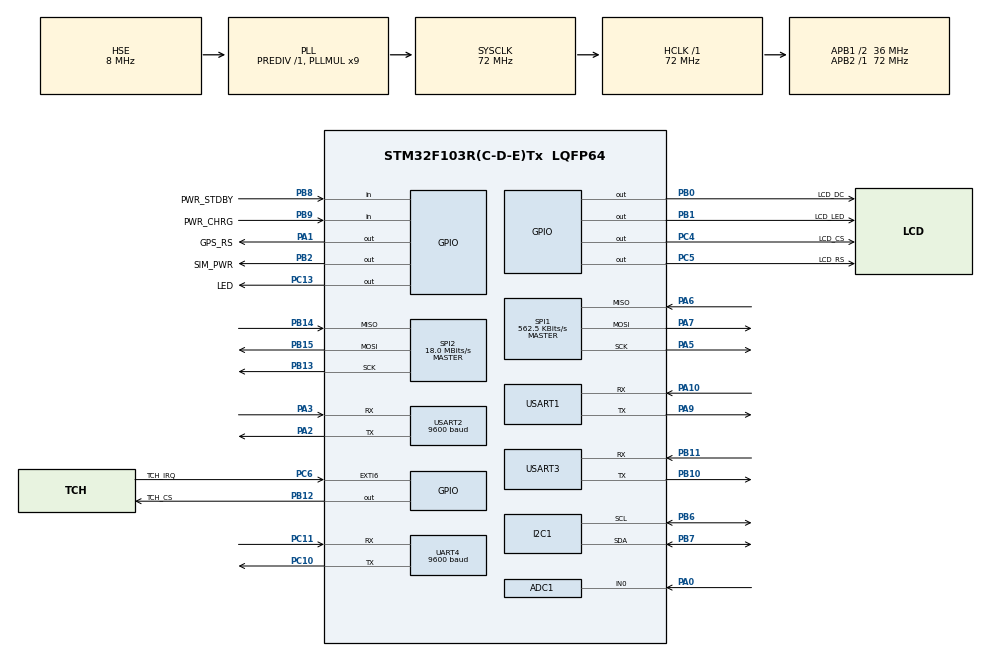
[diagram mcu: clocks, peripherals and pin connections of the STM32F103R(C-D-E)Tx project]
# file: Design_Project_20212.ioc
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ADC1.Channel-0\#ChannelRegularConversion=ADC_CHANNEL_0
ADC1.NbrOfConversionFlag=1
ADC1.Rank-0\#ChannelRegularConversion=1
ADC1.SamplingTime-0\#ChannelRegularConversion=ADC_SAMPLETIME_239CYCLES_5
ADC1.master=1
Dma.ADC1.0.Direction=DMA_PERIPH_TO_MEMORY
Dma.ADC1.0.Instance=DMA1_Channel1
Dma.ADC1.0.MemDataAlignment=DMA_MDATAALIGN_HALFWORD
Dma.ADC1.0.MemInc=DMA_MINC_ENABLE
Dma.ADC1.0.Mode=DMA_CIRCULAR
Dma.ADC1.0.PeriphDataAlignment=DMA_PDATAALIGN_HALFWORD
Dma.ADC1.0.PeriphInc=DMA_PINC_DISABLE
Dma.ADC1.0.Priority=DMA_PRIORITY_LOW
Dma.Request0=ADC1
Dma.Request1=SPI2_TX
Dma.SPI2_TX.1.Direction=DMA_MEMORY_TO_PERIPH
Dma.SPI2_TX.1.Instance=DMA1_Channel5
Dma.SPI2_TX.1.MemDataAlignment=DMA_MDATAALIGN_BYTE
Dma.SPI2_TX.1.MemInc=DMA_MINC_ENABLE
Dma.SPI2_TX.1.Mode=DMA_NORMAL
Dma.SPI2_TX.1.PeriphDataAlignment=DMA_PDATAALIGN_BYTE
Dma.SPI2_TX.1.PeriphInc=DMA_PINC_DISABLE
Dma.SPI2_TX.1.Priority=DMA_PRIORITY_MEDIUM
FREERTOS.Events01=Display_Event,Dynamic,NULL
FREERTOS.Tasks01=defaultTask,24,512,DefaultTask,Default,NULL,Dynamic,NULL,NULL;LCD,32,512,Display_Task,Default,NULL,Dynamic,NULL,NULL
FREERTOS.Timers01=Timer1s,Timer1sHandle,osTimerPeriodic,Default,NULL,Dynamic,NULL
FREERTOS.configTOTAL_HEAP_SIZE=10240
I2C1.I2C_Mode=I2C_Fast
Mcu.Family=STM32F1
Mcu.Name=STM32F103R(C-D-E)Tx
Mcu.Package=LQFP64
NVIC.DMA1_Channel1_IRQn=true\:5\:0\:false\:false\:true\:true\:false\:true\:true
NVIC.DMA1_Channel5_IRQn=true\:5\:0\:false\:false\:true\:true\:false\:true\:true
NVIC.EXTI9_5_IRQn=true\:5\:0\:false\:false\:true\:true\:true\:true\:true
NVIC.PriorityGroup=NVIC_PRIORITYGROUP_4
NVIC.SPI2_IRQn=true\:5\:0\:false\:false\:true\:true\:true\:true\:true
NVIC.TIM7_IRQn=true\:15\:0\:false\:false\:true\:false\:false\:true\:true
NVIC.TimeBase=TIM7_IRQn
NVIC.TimeBaseIP=TIM7
NVIC.UART4_IRQn=true\:5\:0\:false\:false\:true\:true\:true\:true\:true
NVIC.USART1_IRQn=true\:5\:0\:false\:false\:true\:true\:true\:true\:true
NVIC.USART2_IRQn=true\:5\:0\:false\:false\:true\:true\:true\:true\:true
NVIC.USART3_IRQn=true\:5\:0\:false\:false\:true\:true\:true\:true\:true
PA0-WKUP.Signal=ADCx_IN0
PA1.GPIO_Label=GPS_RS
PA1.Signal=GPIO_Output
PA10.Mode=Asynchronous
PA10.Signal=USART1_RX
PA13.Mode=Serial_Wire
PA13.Signal=SYS_JTMS-SWDIO
PA14.Mode=Serial_Wire
PA14.Signal=SYS_JTCK-SWCLK
PA2.Mode=Asynchronous
PA2.Signal=USART2_TX
PA3.Mode=Asynchronous
PA3.Signal=USART2_RX
PA5.Mode=Full_Duplex_Master
PA5.Signal=SPI1_SCK
PA6.Mode=Full_Duplex_Master
PA6.Signal=SPI1_MISO
PA7.Mode=Full_Duplex_Master
PA7.Signal=SPI1_MOSI
PA9.Mode=Asynchronous
PA9.Signal=USART1_TX
PB0.GPIO_Label=LCD_DC
PB0.Signal=GPIO_Output
PB1.GPIO_Label=LCD_LED
PB1.Signal=GPIO_Output
PB10.Mode=Asynchronous
PB10.Signal=USART3_TX
PB11.Mode=Asynchronous
PB11.Signal=USART3_RX
PB12.GPIO_Label=TCH_CS
PB12.Signal=GPIO_Output
PB13.Mode=Full_Duplex_Master
PB13.Signal=SPI2_SCK
PB14.Mode=Full_Duplex_Master
PB14.Signal=SPI2_MISO
PB15.Mode=Full_Duplex_Master
PB15.Signal=SPI2_MOSI
PB2.GPIO_Label=SIM_PWR
PB2.Signal=GPIO_Output
PB6.Mode=I2C
PB6.Signal=I2C1_SCL
PB7.Mode=I2C
PB7.Signal=I2C1_SDA
PB8.GPIO_Label=PWR_STDBY
PB8.Signal=GPIO_Input
PB9.GPIO_Label=PWR_CHRG
PB9.Signal=GPIO_Input
PC10.Mode=Asynchronous
PC10.Signal=UART4_TX
PC11.Mode=Asynchronous
PC11.Signal=UART4_RX
PC13-TAMPER-RTC.GPIO_Label=LED
PC13-TAMPER-RTC.Signal=GPIO_Output
PC4.GPIO_Label=LCD_CS
PC4.Signal=GPIO_Output
PC5.GPIO_Label=LCD_RS
PC5.Signal=GPIO_Output
PC6.GPIO_Label=TCH_IRQ
PC6.GPIO_ModeDefaultEXTI=GPIO_MODE_IT_FALLING
PC6.GPIO_PuPd=GPIO_PULLUP
PC6.Signal=GPXTI6
PD0-OSC_IN.Mode=HSE-External-Oscillator
PD0-OSC_IN.Signal=RCC_OSC_IN
PD1-OSC_OUT.Mode=HSE-External-Oscillator
PD1-OSC_OUT.Signal=RCC_OSC_OUT
ProjectManager.HeapSize=0x200
ProjectManager.StackSize=0x400
ProjectManager.TargetToolchain=Makefile
RCC.ADCPresc=RCC_ADCPCLK2_DIV6
RCC.AHBFreq_Value=72000000
RCC.APB1CLKDivider=RCC_HCLK_DIV2
RCC.APB1Freq_Value=36000000
RCC.APB1TimFreq_Value=72000000
RCC.APB2Freq_Value=72000000
RCC.APB2TimFreq_Value=72000000
RCC.HCLKFreq_Value=72000000
RCC.PLLMUL=RCC_PLL_MUL9
RCC.PLLSourceVirtual=RCC_PLLSOURCE_HSE
RCC.SYSCLKFreq_VALUE=72000000
RCC.SYSCLKSource=RCC_SYSCLKSOURCE_PLLCLK
RCC.USBFreq_Value=72000000
SH.ADCx_IN0.0=ADC1_IN0,IN0
SPI1.BaudRatePrescaler=SPI_BAUDRATEPRESCALER_128
SPI1.CalculateBaudRate=562.5 KBits/s
SPI1.Direction=SPI_DIRECTION_2LINES
SPI1.Mode=SPI_MODE_MASTER
SPI1.VirtualType=VM_MASTER
SPI2.BaudRatePrescaler=SPI_BAUDRATEPRESCALER_2
SPI2.CalculateBaudRate=18.0 MBits/s
SPI2.Direction=SPI_DIRECTION_2LINES
SPI2.Mode=SPI_MODE_MASTER
SPI2.VirtualType=VM_MASTER
UART4.BaudRate=9600
UART4.VirtualMode=Asynchronous
USART1.VirtualMode=VM_ASYNC
USART2.BaudRate=9600
USART2.VirtualMode=VM_ASYNC
USART3.VirtualMode=VM_ASYNC
VP_FREERTOS_VS_CMSIS_V2.Mode=CMSIS_V2
VP_SYS_VS_tim7.Mode=TIM7
board=custom

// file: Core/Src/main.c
/* USER CODE BEGIN Header */
/**
  ******************************************************************************
  * @file           : main.c
  * @brief          : Main program body
  ******************************************************************************
  * @attention
  *
  * Copyright (c) 2023 STMicroelectronics.
  * All rights reserved.
  *
  * This software is licensed under terms that can be found in the LICENSE file
  * in the root directory of this software component.
  * If no LICENSE file comes with this software, it is provided AS-IS.
  *
  ******************************************************************************
  */
/* USER CODE END Header */
#include "main.h"
#include "cmsis_os.h"
#include "adc.h"
#include "dma.h"
#include "i2c.h"
#include "spi.h"
#include "usart.h"
#include "gpio.h"

/* USER CODE BEGIN Includes */
#include "lcd.h"
/* USER CODE END Includes */

void SystemClock_Config(void);
void MX_FREERTOS_Init(void);

int main(void)
{

  /* MCU Configuration--------------------------------------------------------*/

  /* Reset of all peripherals, Initializes the Flash interface and the Systick. */
  HAL_Init();

  /* Configure the system clock */
  SystemClock_Config();

  /* Initialize all configured peripherals */
  MX_GPIO_Init();
  MX_DMA_Init();
  MX_SPI1_Init();
  MX_SPI2_Init();
  MX_UART4_Init();
  MX_USART1_UART_Init();
  MX_USART2_UART_Init();
  MX_I2C1_Init();
  MX_ADC1_Init();
  MX_USART3_UART_Init();

  /* Init scheduler */
  osKernelInitialize();  /* Call init function for freertos objects (in freertos.c) */
  MX_FREERTOS_Init();

  /* Start scheduler */
  osKernelStart();

  /* We should never get here as control is now taken by the scheduler */
  /* Infinite loop */
  while (1)
  {

  }
}

void SystemClock_Config(void)
{
  RCC_OscInitTypeDef RCC_OscInitStruct = {0};
  RCC_ClkInitTypeDef RCC_ClkInitStruct = {0};
  RCC_PeriphCLKInitTypeDef PeriphClkInit = {0};

  /** Initializes the RCC Oscillators according to the specified parameters
  * in the RCC_OscInitTypeDef structure.
  */
  RCC_OscInitStruct.OscillatorType = RCC_OSCILLATORTYPE_HSE;
  RCC_OscInitStruct.HSEState = RCC_HSE_ON;
  RCC_OscInitStruct.HSEPredivValue = RCC_HSE_PREDIV_DIV1;
  RCC_OscInitStruct.HSIState = RCC_HSI_ON;
  RCC_OscInitStruct.PLL.PLLState = RCC_PLL_ON;
  RCC_OscInitStruct.PLL.PLLSource = RCC_PLLSOURCE_HSE;
  RCC_OscInitStruct.PLL.PLLMUL = RCC_PLL_MUL9;
  if (HAL_RCC_OscConfig(&RCC_OscInitStruct) != HAL_OK)
  {
    Error_Handler();
  }

  /** Initializes the CPU, AHB and APB buses clocks
  */
  RCC_ClkInitStruct.ClockType = RCC_CLOCKTYPE_HCLK|RCC_CLOCKTYPE_SYSCLK
                              |RCC_CLOCKTYPE_PCLK1|RCC_CLOCKTYPE_PCLK2;
  RCC_ClkInitStruct.SYSCLKSource = RCC_SYSCLKSOURCE_PLLCLK;
  RCC_ClkInitStruct.AHBCLKDivider = RCC_SYSCLK_DIV1;
  RCC_ClkInitStruct.APB1CLKDivider = RCC_HCLK_DIV2;
  RCC_ClkInitStruct.APB2CLKDivider = RCC_HCLK_DIV1;

  if (HAL_RCC_ClockConfig(&RCC_ClkInitStruct, FLASH_LATENCY_2) != HAL_OK)
  {
    Error_Handler();
  }
  PeriphClkInit.PeriphClockSelection = RCC_PERIPHCLK_ADC;
  PeriphClkInit.AdcClockSelection = RCC_ADCPCLK2_DIV6;
  if (HAL_RCCEx_PeriphCLKConfig(&PeriphClkInit) != HAL_OK)
  {
    Error_Handler();
  }
}

void HAL_TIM_PeriodElapsedCallback(TIM_HandleTypeDef *htim)
{
  if (htim->Instance == TIM7) {
    HAL_IncTick();
  }
}

void Error_Handler(void)
{
  __disable_irq();
  while (1)
  {
  }
}

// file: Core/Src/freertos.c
/* USER CODE BEGIN Header */
/**
 ******************************************************************************
 * File Name          : freertos.c
 * Description        : Code for freertos applications
 ******************************************************************************
 * @attention
 *
 * Copyright (c) 2023 STMicroelectronics.
 * All rights reserved.
 *
 * This software is licensed under terms that can be found in the LICENSE file
 * in the root directory of this software component.
 * If no LICENSE file comes with this software, it is provided AS-IS.
 *
 ******************************************************************************
 */
/* USER CODE END Header */

#include "FreeRTOS.h"
#include "task.h"
#include "main.h"
#include "cmsis_os.h"

/* USER CODE BEGIN Includes */
#include <stdio.h>
#include "max30102.h"
#include "lcd.h"
#include "touch.h"
#include "helperFunc.h"
/* USER CODE END Includes */

/* USER CODE BEGIN PD */

#define PLOT

/* USER CODE END PD */

/* USER CODE BEGIN Variables */
extern I2C_HandleTypeDef hi2c1;
extern UART_HandleTypeDef huart1;

static uint32_t sample_count = 0U;

// MAX30102 object
max30102_t max30102;

/* USER CODE END Variables */
/* Definitions for defaultTask */
osThreadId_t defaultTaskHandle;
const osThreadAttr_t defaultTask_attributes = {
  .name = "defaultTask",
  .stack_size = 512 * 4,
  .priority = (osPriority_t) osPriorityNormal,
};
/* Definitions for LCD */
osThreadId_t LCDHandle;
const osThreadAttr_t LCD_attributes = {
  .name = "LCD",
  .stack_size = 512 * 4,
  .priority = (osPriority_t) osPriorityAboveNormal,
};
/* Definitions for Timer1s */
osTimerId_t Timer1sHandle;
const osTimerAttr_t Timer1s_attributes = {
  .name = "Timer1s"
};
/* Definitions for Display_Event */
osEventFlagsId_t Display_EventHandle;
const osEventFlagsAttr_t Display_Event_attributes = {
  .name = "Display_Event"
};

/* USER CODE BEGIN FunctionPrototypes */

// printf() function
int __io_putchar(int ch)
{
  uint8_t temp = ch;
  HAL_UART_Transmit(&huart1, &temp, 1, HAL_MAX_DELAY);
  return ch;
}

/* USER CODE END FunctionPrototypes */

void DefaultTask(void *argument);
void Display_Task(void *argument);
void Timer1sFunc(void *argument);

void MX_FREERTOS_Init(void); /* (MISRA C 2004 rule 8.1) */

void MX_FREERTOS_Init(void) {

  /* Create the timer(s) */
  /* creation of Timer1s */
  Timer1sHandle = osTimerNew(Timer1sFunc, osTimerPeriodic, NULL, &Timer1s_attributes);

  /* Create the thread(s) */
  /* creation of defaultTask */
  defaultTaskHandle = osThreadNew(DefaultTask, NULL, &defaultTask_attributes);

  /* creation of LCD */
  // LCDHandle = osThreadNew(Display_Task, NULL, &LCD_attributes);

  /* Create the event(s) */
  /* creation of Display_Event */
  Display_EventHandle = osEventFlagsNew(&Display_Event_attributes);

}

void DefaultTask(void *argument)
{
  /* USER CODE BEGIN DefaultTask */
  printf("Enter task MAX30102\n");

  // Initiation
  max30102_init(&max30102, &hi2c1);
  max30102_reset(&max30102);
  // uint8_t device_id = 0x00U;
  // max30102_read(&max30102, 0xFFU, &device_id, 1U);
  // if (device_id != 21U) while(1);
  max30102_clear_fifo(&max30102);
  max30102_set_fifo_config(&max30102, max30102_smp_ave_2, 1, 10);

  // Sensor settings
  max30102_set_led_pulse_width(&max30102, max30102_pw_16_bit);
  max30102_set_adc_resolution(&max30102, max30102_adc_2048);
  max30102_set_sampling_rate(&max30102, max30102_sr_800);
  // RED
  max30102_set_led_current_1(&max30102, 6.4);
  // IR
  max30102_set_led_current_2(&max30102, 6.4);

  // Enter SpO2 mode
  max30102_set_mode(&max30102, max30102_spo2);
  max30102_set_a_full(&max30102, 0);

  // Initiate 1 temperature measurement
  max30102_set_die_temp_en(&max30102, 0);
  max30102_set_die_temp_rdy(&max30102, 0);

  // max30102_interrupt_handler(&max30102);

  osTimerStart(Timer1sHandle, 1000);

  /* Infinite loop */
  for (;;)
  {
    osDelay(100);
    // max30102_interrupt_handler(&max30102);
    max30102_read_fifo(&max30102);
    // HAL_GPIO_TogglePin(LED_GPIO_Port, LED_Pin);
  }
  /* USER CODE END DefaultTask */
}

void Display_Task(void *argument)
{
  /* USER CODE BEGIN Display_Task */
  printf("Enter task LCD\n");
  vTaskSuspend(LCDHandle);
  Display_SetEventHandler(Display_EventHandle);
  ILI9341_Init();
  ILI9341_FillScreen(ILI9341_BLACK);
  uint16_t color = 0x0001;
  uint32_t tick = HAL_GetTick();
  uint32_t tickElapsed = 0;
  /* Infinite loop */
  for (;;)
  {
    tick = HAL_GetTick();
    ILI9341_FillScreen(color);
    if (color == 0x8000)  color = 0x0001;
    color <<= 1;
    tickElapsed = HAL_GetTick() - tick;
    printf("Took %ld ms\n", tickElapsed);
  }
  /* USER CODE END Display_Task */
}

/* Timer1sHandle function */
void Timer1sFunc(void *argument)
{
  /* USER CODE BEGIN Timer1sHandle */
  // printf("Sample Rate: %ld SPS\n", sample_count);
  sample_count = 0;

  /* USER CODE END Timer1sHandle */
}

/* USER CODE BEGIN Application */

void max30102_plot(uint32_t ir_sample, uint32_t red_sample)
{
#ifdef PLOT
  printf("%li,%li\n", red_sample, ir_sample);
  sample_count++;

#else
  UNUSED(ir_sample);
  UNUSED(red_sample);
#endif
}

/* USER CODE END Application */
